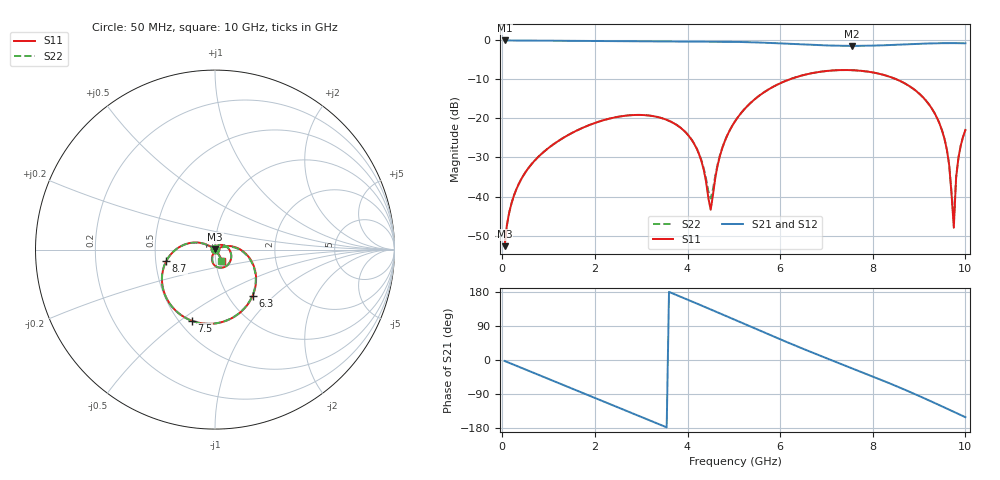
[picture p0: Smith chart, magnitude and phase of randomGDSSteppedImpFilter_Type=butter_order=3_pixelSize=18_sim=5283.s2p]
! freq	dB(S11)	phase(S11)	dB(S12)	phase(S12)
!  dB(S21)	phase(S21)	dB(S22)	phase(S22)
!S-par simulation data
#  GHz  S  DB  R 50
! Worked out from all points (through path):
!   200 points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, 50 MHz to 10 GHz, reference 50 ohm
!   highest |S21| = -0.01 dB at 50 MHz (marker M1); lowest = -1.4 dB at 7.55 GHz (marker M2)
!   group delay of S21, straight-line fit = 141 ps
!   lowest |S11| = -52.7 dB at 50 MHz (marker M3), VSWR 1.00, Z = 50.1 + j0.224 ohm
!   |S11| at or under -10 dB: start of sweep to 6.2 GHz; 8.517 GHz to end of sweep
!   |S22| runs from -52.7 to -7.6 dB; largest |S21 - S12| = 0
!   S11 on the Smith chart (normalised r, x): 50 MHz: 1.00, +0.00; 6.3 GHz: 1.29, -0.74; 7.5 GHz: 0.58, -0.55; 8.7 GHz: 0.57, -0.08; 10 GHz: 1.07, -0.13
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0.05  -52.73 76.0  -0.01 -2.6  -0.01 -2.6  -52.73 76.0
0.2  -41.68 74.8  -0.02 -10.1  -0.02 -10.1  -41.68 74.9
0.5  -33.79 63.1  -0.04 -25.1  -0.04 -25.1  -33.79 63.3
1.75  -22.32 3.1  -0.13 -87.5  -0.13 -87.5  -22.31 3.6
2.5  -19.57 -34.0  -0.20 -125.0  -0.20 -125.0  -19.57 -33.4
3.4  -19.77 -78.1  -0.26 -170.2  -0.26 -170.2  -19.76 -77.1
4.15  -26.64 -111.0  -0.28 151.6  -0.28 151.6  -26.56 -108.1
4.5  -43.40 -42.3  -0.30 133.5  -0.30 133.5  -40.50 -44.0
4.7  -29.57 21.3  -0.32 123.0  -0.32 123.0  -29.40 16.5
5.05  -20.30 10.7  -0.37 104.6  -0.37 104.6  -20.29 8.9
6.3  -9.59 -50.7  -0.93 39.4  -0.93 39.4  -9.59 -51.3
6.7  -8.36 -70.2  -1.15 19.4  -1.15 19.4  -8.36 -70.7
7.5  -7.60 -108.1  -1.39 -19.3  -1.39 -19.3  -7.60 -108.5
7.55  -7.62 -110.5  -1.39 -21.7  -1.39 -21.7  -7.62 -110.8
8.35  -9.25 -148.8  -1.19 -60.9  -1.19 -60.9  -9.25 -149.0
8.7  -11.06 -166.4  -1.02 -78.9  -1.02 -78.9  -11.06 -166.6
9.5  -23.23 151.5  -0.70 -122.6  -0.70 -122.6  -23.20 152.4
9.65  -31.97 145.1  -0.69 -131.1  -0.69 -131.1  -31.84 148.5
9.75  -48.00 -78.8  -0.69 -136.7  -0.69 -136.7  -46.19 -95.9
9.8  -35.06 -50.8  -0.70 -139.6  -0.70 -139.6  -35.07 -57.1
9.85  -30.03 -51.6  -0.70 -142.4  -0.70 -142.4  -30.07 -55.3
10  -22.93 -58.5  -0.73 -150.9  -0.73 -150.9  -22.96 -60.5
